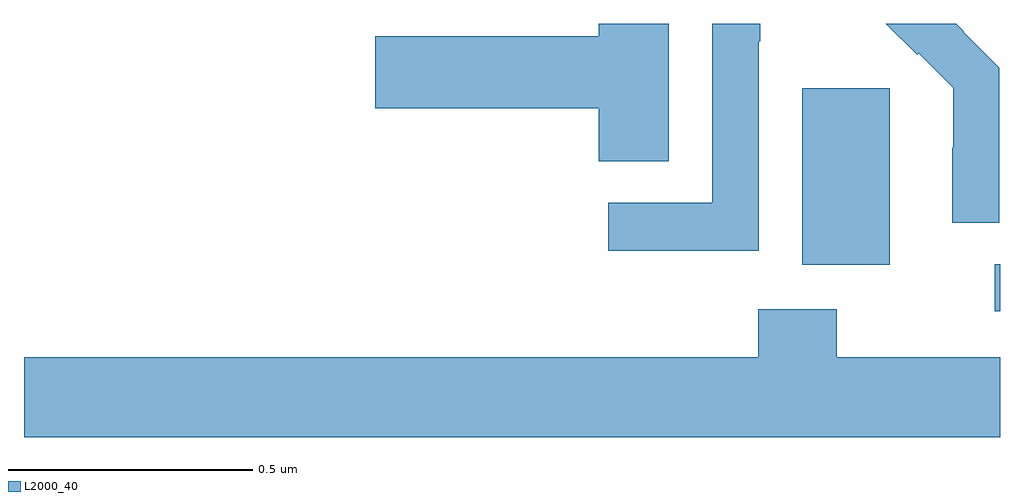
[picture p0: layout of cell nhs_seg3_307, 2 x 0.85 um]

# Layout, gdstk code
import gdstk
lib = gdstk.Library(unit=1e-6, precision=1e-09)
def R(c, l, rs):  # rectangles x0, y0, x1, y1
    for r in rs: c.add(gdstk.rectangle(r[:2], r[2:], *l))
def P(c, l, *ps):  # polygons
    for p in ps: c.add(gdstk.Polygon(p, *l))
L2000_40 = (2000, 40)

nhs_seg3_307 = lib.new_cell('nhs_seg3_307')
R(nhs_seg3_307, L2000_40, [(115.989,731.811,116,731.907), (115.595,731.906,115.774,732.267)])
P(nhs_seg3_307, L2000_40, [(115.321,732.4),(115.178,732.4),(115.178,732.374),(114.72,732.374),(114.72,732.227),(115.178,732.227),(115.178,732.118),(115.321,732.118)],
  [(115.506,732.364),(115.509,732.364),(115.509,732.4),(115.41,732.4),(115.41,732.033),(115.197,732.033),(115.197,731.935),(115.506,731.935)],
  [(115.998,732.31),(115.925,732.383),(115.926,732.384),(115.91,732.4),(115.766,732.4),(115.83,732.336),(115.833,732.339),(115.904,732.269),(115.904,732.146),(115.902,732.146),(115.902,731.992),(115.998,731.992)],
  [(116,731.716),(115.665,731.716),(115.665,731.815),(115.505,731.815),(115.505,731.716),(114,731.716),(114,731.552),(116,731.552)])

lib.write_gds('nhs_seg3_307.gds')
